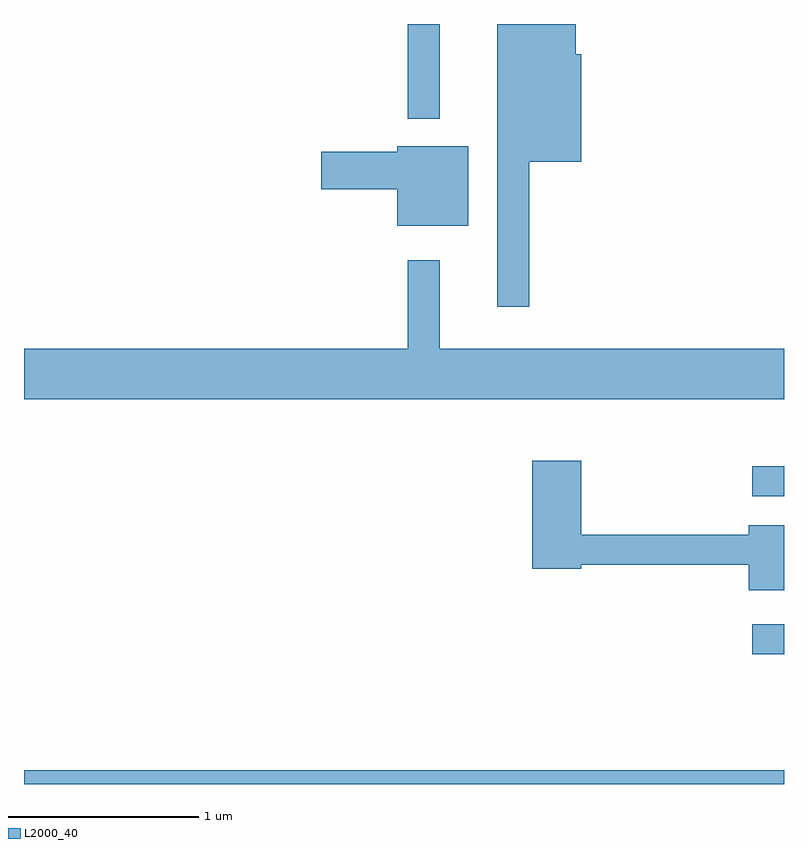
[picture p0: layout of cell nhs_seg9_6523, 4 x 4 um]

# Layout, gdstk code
import gdstk
lib = gdstk.Library(unit=1e-6, precision=1e-09)
def R(c, l, rs):  # rectangles x0, y0, x1, y1
    for r in rs: c.add(gdstk.rectangle(r[:2], r[2:], *l))
def P(c, l, *ps):  # polygons
    for p in ps: c.add(gdstk.Polygon(p, *l))
L2000_40 = (2000, 40)

nhs_seg9_6523 = lib.new_cell('nhs_seg9_6523')
R(nhs_seg9_6523, L2000_40, [(377.611,2016.432,381.611,2016.504), (381.443,2017.116,381.611,2017.274), (381.443,2017.946,381.611,2018.104), (379.631,2019.933,379.799,2020.432)])
P(nhs_seg9_6523, L2000_40, [(380.269,2019.706),(380.544,2019.706),(380.544,2020.274),(380.514,2020.274),(380.514,2020.432),(380.101,2020.432),(380.101,2018.943),(380.269,2018.943)],
  [(379.949,2019.789),(379.576,2019.789),(379.576,2019.759),(379.176,2019.759),(379.176,2019.561),(379.576,2019.561),(379.576,2019.371),(379.949,2019.371)],
  [(381.611,2018.724),(379.799,2018.724),(379.799,2019.188),(379.631,2019.188),(379.631,2018.724),(377.611,2018.724),(377.611,2018.456),(381.611,2018.456)],
  [(381.611,2017.794),(381.426,2017.794),(381.426,2017.744),(380.544,2017.744),(380.544,2018.134),(380.286,2018.134),(380.286,2017.566),(380.544,2017.566),(380.544,2017.586),(381.426,2017.586),(381.426,2017.451),(381.611,2017.451)])

lib.write_gds('nhs_seg9_6523.gds')
